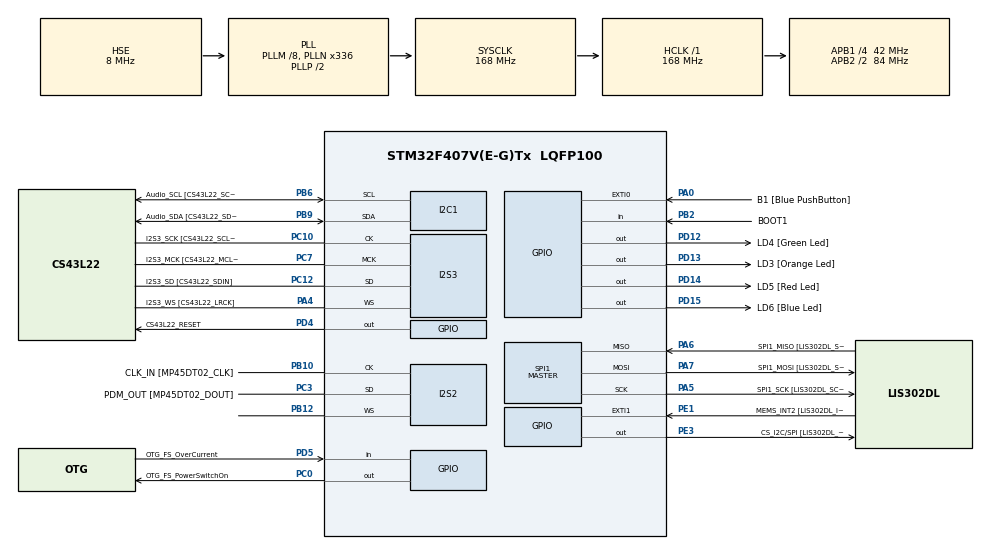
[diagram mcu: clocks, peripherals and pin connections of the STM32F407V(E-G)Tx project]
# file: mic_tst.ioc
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Dma.Request0=SPI3_TX
Dma.Request1=SPI2_RX
Dma.SPI2_RX.1.Direction=DMA_PERIPH_TO_MEMORY
Dma.SPI2_RX.1.FIFOMode=DMA_FIFOMODE_ENABLE
Dma.SPI2_RX.1.FIFOThreshold=DMA_FIFO_THRESHOLD_FULL
Dma.SPI2_RX.1.Instance=DMA1_Stream3
Dma.SPI2_RX.1.MemBurst=DMA_MBURST_SINGLE
Dma.SPI2_RX.1.MemDataAlignment=DMA_MDATAALIGN_HALFWORD
Dma.SPI2_RX.1.MemInc=DMA_MINC_ENABLE
Dma.SPI2_RX.1.Mode=DMA_CIRCULAR
Dma.SPI2_RX.1.PeriphBurst=DMA_PBURST_SINGLE
Dma.SPI2_RX.1.PeriphDataAlignment=DMA_PDATAALIGN_HALFWORD
Dma.SPI2_RX.1.PeriphInc=DMA_PINC_DISABLE
Dma.SPI2_RX.1.Priority=DMA_PRIORITY_LOW
Dma.SPI3_TX.0.Direction=DMA_MEMORY_TO_PERIPH
Dma.SPI3_TX.0.FIFOMode=DMA_FIFOMODE_ENABLE
Dma.SPI3_TX.0.FIFOThreshold=DMA_FIFO_THRESHOLD_FULL
Dma.SPI3_TX.0.Instance=DMA1_Stream5
Dma.SPI3_TX.0.MemBurst=DMA_MBURST_SINGLE
Dma.SPI3_TX.0.MemDataAlignment=DMA_MDATAALIGN_HALFWORD
Dma.SPI3_TX.0.MemInc=DMA_MINC_ENABLE
Dma.SPI3_TX.0.Mode=DMA_CIRCULAR
Dma.SPI3_TX.0.PeriphBurst=DMA_PBURST_SINGLE
Dma.SPI3_TX.0.PeriphDataAlignment=DMA_PDATAALIGN_HALFWORD
Dma.SPI3_TX.0.PeriphInc=DMA_PINC_DISABLE
Dma.SPI3_TX.0.Priority=DMA_PRIORITY_LOW
I2S2.AudioFreq=I2S_AUDIOFREQ_48K
I2S2.CPOL=I2S_CPOL_LOW
I2S2.DataFormat=I2S_DATAFORMAT_16B
I2S2.ErrorAudioFreq=-0.79 %
I2S2.FullDuplexMode=I2S_FULLDUPLEXMODE_DISABLE
I2S2.Instance=SPI$Index
I2S2.Mode=I2S_MODE_SLAVE_RX
I2S2.RealAudioFreq=47.619 KHz
I2S2.Standard=I2S_STANDARD_MSB
I2S2.VirtualMode=I2S_MODE_SLAVE
I2S3.AudioFreq=I2S_AUDIOFREQ_48K
I2S3.AudioFreq-Half_Duplex_Master=I2S_AUDIOFREQ_96K
I2S3.ErrorAudioFreq=-2.34 %
I2S3.ErrorAudioFreq-Half_Duplex_Master=0.8 %
I2S3.FullDuplexMode=I2S_FULLDUPLEXMODE_DISABLE
I2S3.Instance=SPI$Index
I2S3.RealAudioFreq=46.875 KHz
I2S3.RealAudioFreq-Half_Duplex_Master=96.774 KHz
I2S3.VirtualMode=I2S_MODE_MASTER
Mcu.Family=STM32F4
Mcu.Name=STM32F407V(E-G)Tx
Mcu.Package=LQFP100
NVIC.DMA1_Stream3_IRQn=true\:0\:0\:false\:false\:true\:false\:true\:true
NVIC.DMA1_Stream5_IRQn=true\:0\:0\:false\:false\:true\:false\:true\:true
NVIC.PriorityGroup=NVIC_PRIORITYGROUP_0
PA0-WKUP.GPIO_Label=B1 [Blue PushButton]
PA0-WKUP.GPIO_ModeDefaultEXTI=GPIO_MODE_EVT_RISING
PA0-WKUP.GPIO_PuPd=GPIO_NOPULL
PA0-WKUP.Signal=GPXTI0
PA10.GPIO_Label=OTG_FS_ID
PA10.GPIO_Mode=GPIO_MODE_AF_PP
PA10.GPIO_PuPd=GPIO_NOPULL
PA10.GPIO_Speed=GPIO_SPEED_FREQ_LOW
PA10.Signal=USB_OTG_FS_ID
PA11.GPIO_Label=OTG_FS_DM
PA11.GPIO_Mode=GPIO_MODE_AF_PP
PA11.GPIO_PuPd=GPIO_NOPULL
PA11.GPIO_Speed=GPIO_SPEED_FREQ_LOW
PA11.Signal=USB_OTG_FS_DM
PA12.GPIO_Label=OTG_FS_DP
PA12.GPIO_Mode=GPIO_MODE_AF_PP
PA12.GPIO_PuPd=GPIO_NOPULL
PA12.GPIO_Speed=GPIO_SPEED_FREQ_LOW
PA12.Signal=USB_OTG_FS_DP
PA13.GPIO_Label=SWDIO
PA13.Mode=Serial_Wire
PA13.Signal=SYS_JTMS-SWDIO
PA14.GPIO_Label=SWCLK
PA14.Mode=Serial_Wire
PA14.Signal=SYS_JTCK-SWCLK
PA4.GPIO_Label=I2S3_WS [CS43L22_LRCK]
PA4.GPIO_Mode=GPIO_MODE_AF_PP
PA4.GPIO_PuPd=GPIO_NOPULL
PA4.GPIO_Speed=GPIO_SPEED_FREQ_LOW
PA4.Mode=Half_Duplex_Master
PA4.Signal=I2S3_WS
PA5.GPIO_Label=SPI1_SCK [LIS302DL_SCL/SPC]
PA5.GPIO_Mode=GPIO_MODE_AF_PP
PA5.GPIO_PuPd=GPIO_NOPULL
PA5.GPIO_Speed=GPIO_SPEED_FREQ_LOW
PA5.Mode=Full_Duplex_Master
PA5.Signal=SPI1_SCK
PA6.GPIO_Label=SPI1_MISO [LIS302DL_SDO]
PA6.GPIO_Mode=GPIO_MODE_AF_PP
PA6.GPIO_PuPd=GPIO_NOPULL
PA6.GPIO_Speed=GPIO_SPEED_FREQ_LOW
PA6.Mode=Full_Duplex_Master
PA6.Signal=SPI1_MISO
PA7.GPIO_Label=SPI1_MOSI [LIS302DL_SDA/SDI/SDO]
PA7.GPIO_Mode=GPIO_MODE_AF_PP
PA7.GPIO_PuPd=GPIO_NOPULL
PA7.GPIO_Speed=GPIO_SPEED_FREQ_LOW
PA7.Mode=Full_Duplex_Master
PA7.Signal=SPI1_MOSI
PA9.GPIO_Label=VBUS_FS
PA9.GPIO_Mode=GPIO_MODE_INPUT
PA9.GPIO_PuPd=GPIO_NOPULL
PA9.Signal=USB_OTG_FS_VBUS
PB10.GPIO_Label=CLK_IN [MP45DT02_CLK]
PB10.GPIO_Mode=GPIO_MODE_AF_PP
PB10.GPIO_PuPd=GPIO_NOPULL
PB10.GPIO_Speed=GPIO_SPEED_FREQ_LOW
PB10.Mode=Half_Duplex_Slave
PB10.Signal=I2S2_CK
PB12.Mode=Half_Duplex_Slave
PB12.Signal=I2S2_WS
PB2.GPIO_Label=BOOT1
PB2.GPIO_Mode=GPIO_MODE_INPUT
PB2.GPIO_PuPd=GPIO_NOPULL
PB2.Signal=GPIO_Input
PB3.GPIO_Label=SWO
PB3.Signal=SYS_JTDO-SWO
PB6.GPIO_Label=Audio_SCL [CS43L22_SCL]
PB6.GPIO_Mode=GPIO_MODE_AF_OD
PB6.GPIO_Pu=GPIO_PULLUP
PB6.GPIO_PuPd=GPIO_NOPULL
PB6.GPIO_Speed=GPIO_SPEED_FREQ_LOW
PB6.Mode=I2C
PB6.Signal=I2C1_SCL
PB9.GPIO_Label=Audio_SDA [CS43L22_SDA]
PB9.GPIO_Mode=GPIO_MODE_AF_OD
PB9.GPIO_Pu=GPIO_PULLUP
PB9.GPIO_PuPd=GPIO_NOPULL
PB9.GPIO_Speed=GPIO_SPEED_FREQ_LOW
PB9.Mode=I2C
PB9.Signal=I2C1_SDA
PC0.GPIO_Label=OTG_FS_PowerSwitchOn
PC0.GPIO_PuPd=GPIO_NOPULL
PC0.GPIO_Speed=GPIO_SPEED_FREQ_LOW
PC0.PinState=GPIO_PIN_SET
PC0.Signal=GPIO_Output
PC10.GPIO_Label=I2S3_SCK [CS43L22_SCLK]
PC10.GPIO_Mode=GPIO_MODE_AF_PP
PC10.GPIO_PuPd=GPIO_NOPULL
PC10.GPIO_Speed=GPIO_SPEED_FREQ_LOW
PC10.Mode=Half_Duplex_Master
PC10.Signal=I2S3_CK
PC12.GPIO_Label=I2S3_SD [CS43L22_SDIN]
PC12.GPIO_Mode=GPIO_MODE_AF_PP
PC12.GPIO_PuPd=GPIO_NOPULL
PC12.GPIO_Speed=GPIO_SPEED_FREQ_LOW
PC12.Mode=Half_Duplex_Master
PC12.Signal=I2S3_SD
PC14-OSC32_IN.GPIO_Label=PC14-OSC32_IN
PC14-OSC32_IN.Mode=LSE-External-Oscillator
PC14-OSC32_IN.Signal=RCC_OSC32_IN
PC15-OSC32_OUT.GPIO_Label=PC15-OSC32_OUT
PC15-OSC32_OUT.Mode=LSE-External-Oscillator
PC15-OSC32_OUT.Signal=RCC_OSC32_OUT
PC3.GPIO_Label=PDM_OUT [MP45DT02_DOUT]
PC3.GPIO_Mode=GPIO_MODE_AF_PP
PC3.GPIO_PuPd=GPIO_NOPULL
PC3.GPIO_Speed=GPIO_SPEED_FREQ_LOW
PC3.Mode=Half_Duplex_Slave
PC3.Signal=I2S2_SD
PC7.GPIO_Label=I2S3_MCK [CS43L22_MCLK]
PC7.GPIO_Mode=GPIO_MODE_AF_PP
PC7.GPIO_PuPd=GPIO_NOPULL
PC7.GPIO_Speed=GPIO_SPEED_FREQ_LOW
PC7.Mode=Master_Clock_Activated
PC7.Signal=I2S3_MCK
PD12.GPIO_Label=LD4 [Green Led]
PD12.GPIO_PuPd=GPIO_NOPULL
PD12.GPIO_Speed=GPIO_SPEED_FREQ_LOW
PD12.Signal=GPIO_Output
PD13.GPIO_Label=LD3 [Orange Led]
PD13.GPIO_PuPd=GPIO_NOPULL
PD13.GPIO_Speed=GPIO_SPEED_FREQ_LOW
PD13.Signal=GPIO_Output
PD14.GPIO_Label=LD5 [Red Led]
PD14.GPIO_PuPd=GPIO_NOPULL
PD14.GPIO_Speed=GPIO_SPEED_FREQ_LOW
PD14.Signal=GPIO_Output
PD15.GPIO_Label=LD6 [Blue Led]
PD15.GPIO_PuPd=GPIO_NOPULL
PD15.GPIO_Speed=GPIO_SPEED_FREQ_LOW
PD15.Signal=GPIO_Output
PD4.GPIO_Label=CS43L22_RESET
PD4.GPIO_PuPd=GPIO_NOPULL
PD4.GPIO_Speed=GPIO_SPEED_FREQ_LOW
PD4.Signal=GPIO_Output
PD5.GPIO_Label=OTG_FS_OverCurrent
PD5.GPIO_Mode=GPIO_MODE_INPUT
PD5.GPIO_PuPd=GPIO_NOPULL
PD5.Signal=GPIO_Input
PDM2PCM.CHANNEL1_bit_order=PDM_FILTER_BIT_ORDER_MSB
PDM2PCM.CHANNEL1_in_ptr_channels=1
PDM2PCM.CHANNEL1_out_ptr_channels=1
PE1.GPIO_Label=MEMS_INT2 [LIS302DL_INT2]
PE1.GPIO_ModeDefaultEXTI=GPIO_MODE_EVT_RISING
PE1.GPIO_PuPd=GPIO_NOPULL
PE1.Signal=GPXTI1
PE3.GPIO_Label=CS_I2C/SPI [LIS302DL_CS_I2C/SPI]
PE3.GPIO_PuPd=GPIO_NOPULL
PE3.GPIO_Speed=GPIO_SPEED_FREQ_LOW
PE3.Signal=GPIO_Output
PH0-OSC_IN.GPIO_Label=PH0-OSC_IN
PH0-OSC_IN.Mode=HSE-External-Oscillator
PH0-OSC_IN.Signal=RCC_OSC_IN
PH1-OSC_OUT.GPIO_Label=PH1-OSC_OUT
PH1-OSC_OUT.Mode=HSE-External-Oscillator
PH1-OSC_OUT.Signal=RCC_OSC_OUT
ProjectManager.HeapSize=0x200
ProjectManager.StackSize=0x400
ProjectManager.TargetToolchain=STM32CubeIDE
RCC.48MHZClocksFreq_Value=48000000
RCC.AHBFreq_Value=168000000
RCC.APB1CLKDivider=RCC_HCLK_DIV4
RCC.APB1Freq_Value=42000000
RCC.APB1TimFreq_Value=84000000
RCC.APB2CLKDivider=RCC_HCLK_DIV2
RCC.APB2Freq_Value=84000000
RCC.APB2TimFreq_Value=168000000
RCC.CortexFreq_Value=168000000
RCC.HCLKFreq_Value=168000000
RCC.HSE_VALUE=8000000
RCC.HSI_VALUE=16000000
RCC.PLLM=8
RCC.PLLN=336
RCC.PLLQ=7
RCC.PLLSourceVirtual=RCC_PLLSOURCE_HSE
RCC.SYSCLKFreq_VALUE=168000000
RCC.SYSCLKSource=RCC_SYSCLKSOURCE_PLLCLK
RCC.VCOOutputFreq_Value=336000000
SPI1.BaudRatePrescaler-Full_Duplex_Master=SPI_BAUDRATEPRESCALER_2
SPI1.CalculateBaudRate-Full_Duplex_Master=42.0 MBits/s
SPI1.Direction=SPI_DIRECTION_2LINES
SPI1.Mode=SPI_MODE_MASTER
SPI1.Mode-Full_Duplex_Master=SPI_MODE_MASTER
SPI1.VirtualType=VM_MASTER
VP_CRC_VS_CRC.Mode=CRC_Activate
VP_PDM2PCM_VS_PDM2PCM.Mode=PDM2PCM_Channel
board=STM32F407G-DISC1

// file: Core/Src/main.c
/* USER CODE BEGIN Header */
/**
  ******************************************************************************
  * @file           : main.c
  * @brief          : Main program body
  ******************************************************************************
  * @attention
  *
  * Copyright (c) 2023 STMicroelectronics.
  * All rights reserved.
  *
  * This software is licensed under terms that can be found in the LICENSE file
  * in the root directory of this software component.
  * If no LICENSE file comes with this software, it is provided AS-IS.
  *
  ******************************************************************************
  */
/* USER CODE END Header */
#include "main.h"
#include "pdm2pcm.h"

/* USER CODE BEGIN Includes */
#include "cs43l22.h"
#include "AUDIO_LINK.h"
/* USER CODE END Includes */

CRC_HandleTypeDef hcrc;

I2C_HandleTypeDef hi2c1;

I2S_HandleTypeDef hi2s2;
I2S_HandleTypeDef hi2s3;
DMA_HandleTypeDef hdma_spi2_rx;
DMA_HandleTypeDef hdma_spi3_tx;

SPI_HandleTypeDef hspi1;

void SystemClock_Config(void);
void PeriphCommonClock_Config(void);
static void MX_GPIO_Init(void);
static void MX_DMA_Init(void);
static void MX_I2C1_Init(void);
static void MX_I2S3_Init(void);
static void MX_SPI1_Init(void);
static void MX_CRC_Init(void);
static void MX_I2S2_Init(void);

/* USER CODE BEGIN 0 */
int16_t txBuf[128];
uint16_t pdmRxBuf[128];
int16_t MidBuffer[32];
uint8_t txstate = 0;
uint8_t rxstate = 0;

int16_t fifobuf[256];
uint8_t fifo_w_ptr = 0;
uint8_t fifo_r_ptr = 0;
uint8_t fifo_read_enabled = 0;
#define SIN_FREQ       1000
#define SAMPLING_RATE  48000
#define BUFFER_LENGTH  SAMPLING_RATE / SIN_FREQ
uint16_t  buffer_audio[2 * BUFFER_LENGTH];
void FifoWrite(int16_t data) {
  fifobuf[fifo_w_ptr] = data;
  fifo_w_ptr++;
}

int16_t FifoRead() {
  int16_t val = fifobuf[fifo_r_ptr];
  fifo_r_ptr++;
  return val;
}
/* USER CODE END 0 */

int main(void)
{

  /* MCU Configuration--------------------------------------------------------*/

  /* Reset of all peripherals, Initializes the Flash interface and the Systick. */
  HAL_Init();

  /* Configure the system clock */
  SystemClock_Config();

/* Configure the peripherals common clocks */
  PeriphCommonClock_Config();

  /* Initialize all configured peripherals */
  MX_GPIO_Init();
  MX_DMA_Init();
  MX_I2C1_Init();
  MX_I2S3_Init();
  MX_SPI1_Init();
  MX_CRC_Init();
  MX_I2S2_Init();
  MX_PDM2PCM_Init();
  /* USER CODE BEGIN 2 */

  cs43l22_init();
  HAL_I2S_Receive_DMA(&hi2s2, &buffer_audio[0], 2 * BUFFER_LENGTH);

  /* USER CODE END 2 */

  /* Infinite loop */
  while (1)
  {

    /* USER CODE BEGIN 3 */
  //   if (rxstate == 1)
  //   {
  //     PDM_Filter (&pdmRxBuf[0], &MidBuffer[0], &PDM1_filter_handler);
  //     for (int i = 0; i < 32; i++)
  //     {
  //       FifoWrite (MidBuffer[i]);
  //     }
  //     if (fifo_w_ptr - fifo_r_ptr > 128)
  //       fifo_read_enabled = 1;
  //     rxstate = 0;
  //   }

  //   if (rxstate == 2)
  //   {
  //     PDM_Filter (&pdmRxBuf[64], &MidBuffer[0], &PDM1_filter_handler);
  //     for (int i = 0; i < 32; i++)
  //     {
  //       FifoWrite (MidBuffer[i]);
  //     }
  //     rxstate = 0;
  //   }

  //   if (txstate == 1)
  //   {
  //     if (fifo_read_enabled == 1)
  //     {
  //       for (int i = 0; i < 64; i = i + 2)
  //       {
  //         int16_t data = FifoRead ();
  //         txBuf[i] = data;
  //         txBuf[i + 1] = data;
  //       }
  //     }
  //     txstate = 0;
  //   }

  //   if (txstate == 2)
  //   {
  //     if (fifo_read_enabled == 1)
  //     {
  //       for (int i = 64; i < 128; i = i + 2)
  //       {
  //         int16_t data = FifoRead ();
  //         txBuf[i] = data;
  //         txBuf[i + 1] = data;
  //       }
  //     }
  //     txstate = 0;
  //   }
  }
  /* USER CODE END 3 */
}

void SystemClock_Config(void)
{
  RCC_OscInitTypeDef RCC_OscInitStruct = {0};
  RCC_ClkInitTypeDef RCC_ClkInitStruct = {0};

  /** Configure the main internal regulator output voltage
  */
  __HAL_RCC_PWR_CLK_ENABLE();
  __HAL_PWR_VOLTAGESCALING_CONFIG(PWR_REGULATOR_VOLTAGE_SCALE1);

  /** Initializes the RCC Oscillators according to the specified parameters
  * in the RCC_OscInitTypeDef structure.
  */
  RCC_OscInitStruct.OscillatorType = RCC_OSCILLATORTYPE_HSE;
  RCC_OscInitStruct.HSEState = RCC_HSE_ON;
  RCC_OscInitStruct.PLL.PLLState = RCC_PLL_ON;
  RCC_OscInitStruct.PLL.PLLSource = RCC_PLLSOURCE_HSE;
  RCC_OscInitStruct.PLL.PLLM = 8;
  RCC_OscInitStruct.PLL.PLLN = 336;
  RCC_OscInitStruct.PLL.PLLP = RCC_PLLP_DIV2;
  RCC_OscInitStruct.PLL.PLLQ = 7;
  if (HAL_RCC_OscConfig(&RCC_OscInitStruct) != HAL_OK)
  {
    Error_Handler();
  }

  /** Initializes the CPU, AHB and APB buses clocks
  */
  RCC_ClkInitStruct.ClockType = RCC_CLOCKTYPE_HCLK|RCC_CLOCKTYPE_SYSCLK
                              |RCC_CLOCKTYPE_PCLK1|RCC_CLOCKTYPE_PCLK2;
  RCC_ClkInitStruct.SYSCLKSource = RCC_SYSCLKSOURCE_PLLCLK;
  RCC_ClkInitStruct.AHBCLKDivider = RCC_SYSCLK_DIV1;
  RCC_ClkInitStruct.APB1CLKDivider = RCC_HCLK_DIV4;
  RCC_ClkInitStruct.APB2CLKDivider = RCC_HCLK_DIV2;

  if (HAL_RCC_ClockConfig(&RCC_ClkInitStruct, FLASH_LATENCY_5) != HAL_OK)
  {
    Error_Handler();
  }
}

void PeriphCommonClock_Config(void)
{
  RCC_PeriphCLKInitTypeDef PeriphClkInitStruct = {0};

  /** Initializes the peripherals clock
  */
  PeriphClkInitStruct.PeriphClockSelection = RCC_PERIPHCLK_I2S;
  PeriphClkInitStruct.PLLI2S.PLLI2SN = 192;
  PeriphClkInitStruct.PLLI2S.PLLI2SR = 2;
  if (HAL_RCCEx_PeriphCLKConfig(&PeriphClkInitStruct) != HAL_OK)
  {
    Error_Handler();
  }
}

static void MX_CRC_Init(void)
{

  hcrc.Instance = CRC;
  if (HAL_CRC_Init(&hcrc) != HAL_OK)
  {
    Error_Handler();
  }
  __HAL_CRC_DR_RESET(&hcrc);

}

static void MX_I2C1_Init(void)
{

  hi2c1.Instance = I2C1;
  hi2c1.Init.ClockSpeed = 100000;
  hi2c1.Init.DutyCycle = I2C_DUTYCYCLE_2;
  hi2c1.Init.OwnAddress1 = 0;
  hi2c1.Init.AddressingMode = I2C_ADDRESSINGMODE_7BIT;
  hi2c1.Init.DualAddressMode = I2C_DUALADDRESS_DISABLE;
  hi2c1.Init.OwnAddress2 = 0;
  hi2c1.Init.GeneralCallMode = I2C_GENERALCALL_DISABLE;
  hi2c1.Init.NoStretchMode = I2C_NOSTRETCH_DISABLE;
  if (HAL_I2C_Init(&hi2c1) != HAL_OK)
  {
    Error_Handler();
  }

}

static void MX_I2S2_Init(void)
{

  hi2s2.Instance = SPI2;
  hi2s2.Init.Mode = I2S_MODE_SLAVE_RX;
  hi2s2.Init.Standard = I2S_STANDARD_MSB;
  hi2s2.Init.DataFormat = I2S_DATAFORMAT_16B;
  hi2s2.Init.MCLKOutput = I2S_MCLKOUTPUT_DISABLE;
  hi2s2.Init.AudioFreq = I2S_AUDIOFREQ_48K;
  hi2s2.Init.CPOL = I2S_CPOL_LOW;
  hi2s2.Init.ClockSource = I2S_CLOCK_PLL;
  hi2s2.Init.FullDuplexMode = I2S_FULLDUPLEXMODE_DISABLE;
  if (HAL_I2S_Init(&hi2s2) != HAL_OK)
  {
    Error_Handler();
  }

}

static void MX_I2S3_Init(void)
{

  hi2s3.Instance = SPI3;
  hi2s3.Init.Mode = I2S_MODE_MASTER_TX;
  hi2s3.Init.Standard = I2S_STANDARD_PHILIPS;
  hi2s3.Init.DataFormat = I2S_DATAFORMAT_16B;
  hi2s3.Init.MCLKOutput = I2S_MCLKOUTPUT_ENABLE;
  hi2s3.Init.AudioFreq = I2S_AUDIOFREQ_48K;
  hi2s3.Init.CPOL = I2S_CPOL_LOW;
  hi2s3.Init.ClockSource = I2S_CLOCK_PLL;
  hi2s3.Init.FullDuplexMode = I2S_FULLDUPLEXMODE_DISABLE;
  if (HAL_I2S_Init(&hi2s3) != HAL_OK)
  {
    Error_Handler();
  }

}

static void MX_SPI1_Init(void)
{

  /* SPI1 parameter configuration*/
  hspi1.Instance = SPI1;
  hspi1.Init.Mode = SPI_MODE_MASTER;
  hspi1.Init.Direction = SPI_DIRECTION_2LINES;
  hspi1.Init.DataSize = SPI_DATASIZE_8BIT;
  hspi1.Init.CLKPolarity = SPI_POLARITY_LOW;
  hspi1.Init.CLKPhase = SPI_PHASE_1EDGE;
  hspi1.Init.NSS = SPI_NSS_SOFT;
  hspi1.Init.BaudRatePrescaler = SPI_BAUDRATEPRESCALER_2;
  hspi1.Init.FirstBit = SPI_FIRSTBIT_MSB;
  hspi1.Init.TIMode = SPI_TIMODE_DISABLE;
  hspi1.Init.CRCCalculation = SPI_CRCCALCULATION_DISABLE;
  hspi1.Init.CRCPolynomial = 10;
  if (HAL_SPI_Init(&hspi1) != HAL_OK)
  {
    Error_Handler();
  }

}

static void MX_DMA_Init(void)
{

  /* DMA controller clock enable */
  __HAL_RCC_DMA1_CLK_ENABLE();

  /* DMA interrupt init */
  /* DMA1_Stream3_IRQn interrupt configuration */
  HAL_NVIC_SetPriority(DMA1_Stream3_IRQn, 0, 0);
  HAL_NVIC_EnableIRQ(DMA1_Stream3_IRQn);
  /* DMA1_Stream5_IRQn interrupt configuration */
  HAL_NVIC_SetPriority(DMA1_Stream5_IRQn, 0, 0);
  HAL_NVIC_EnableIRQ(DMA1_Stream5_IRQn);

}

static void MX_GPIO_Init(void)
{
  GPIO_InitTypeDef GPIO_InitStruct = {0};

  /* GPIO Ports Clock Enable */
  __HAL_RCC_GPIOE_CLK_ENABLE();
  __HAL_RCC_GPIOC_CLK_ENABLE();
  __HAL_RCC_GPIOH_CLK_ENABLE();
  __HAL_RCC_GPIOA_CLK_ENABLE();
  __HAL_RCC_GPIOB_CLK_ENABLE();
  __HAL_RCC_GPIOD_CLK_ENABLE();

  /*Configure GPIO pin Output Level */
  HAL_GPIO_WritePin(CS_I2C_SPI_GPIO_Port, CS_I2C_SPI_Pin, GPIO_PIN_RESET);

  /*Configure GPIO pin Output Level */
  HAL_GPIO_WritePin(OTG_FS_PowerSwitchOn_GPIO_Port, OTG_FS_PowerSwitchOn_Pin, GPIO_PIN_SET);

  /*Configure GPIO pin Output Level */
  HAL_GPIO_WritePin(GPIOD, LD4_Pin|LD3_Pin|LD5_Pin|LD6_Pin
                          |CS43L22_RESET_Pin, GPIO_PIN_RESET);

  /*Configure GPIO pin : CS_I2C_SPI_Pin */
  GPIO_InitStruct.Pin = CS_I2C_SPI_Pin;
  GPIO_InitStruct.Mode = GPIO_MODE_OUTPUT_PP;
  GPIO_InitStruct.Pull = GPIO_NOPULL;
  GPIO_InitStruct.Speed = GPIO_SPEED_FREQ_LOW;
  HAL_GPIO_Init(CS_I2C_SPI_GPIO_Port, &GPIO_InitStruct);

  /*Configure GPIO pin : OTG_FS_PowerSwitchOn_Pin */
  GPIO_InitStruct.Pin = OTG_FS_PowerSwitchOn_Pin;
  GPIO_InitStruct.Mode = GPIO_MODE_OUTPUT_PP;
  GPIO_InitStruct.Pull = GPIO_NOPULL;
  GPIO_InitStruct.Speed = GPIO_SPEED_FREQ_LOW;
  HAL_GPIO_Init(OTG_FS_PowerSwitchOn_GPIO_Port, &GPIO_InitStruct);

  /*Configure GPIO pin : B1_Pin */
  GPIO_InitStruct.Pin = B1_Pin;
  GPIO_InitStruct.Mode = GPIO_MODE_EVT_RISING;
  GPIO_InitStruct.Pull = GPIO_NOPULL;
  HAL_GPIO_Init(B1_GPIO_Port, &GPIO_InitStruct);

  /*Configure GPIO pin : BOOT1_Pin */
  GPIO_InitStruct.Pin = BOOT1_Pin;
  GPIO_InitStruct.Mode = GPIO_MODE_INPUT;
  GPIO_InitStruct.Pull = GPIO_NOPULL;
  HAL_GPIO_Init(BOOT1_GPIO_Port, &GPIO_InitStruct);

  /*Configure GPIO pins : LD4_Pin LD3_Pin LD5_Pin LD6_Pin
                           CS43L22_RESET_Pin */
  GPIO_InitStruct.Pin = LD4_Pin|LD3_Pin|LD5_Pin|LD6_Pin
                          |CS43L22_RESET_Pin;
  GPIO_InitStruct.Mode = GPIO_MODE_OUTPUT_PP;
  GPIO_InitStruct.Pull = GPIO_NOPULL;
  GPIO_InitStruct.Speed = GPIO_SPEED_FREQ_LOW;
  HAL_GPIO_Init(GPIOD, &GPIO_InitStruct);

  /*Configure GPIO pin : VBUS_FS_Pin */
  GPIO_InitStruct.Pin = VBUS_FS_Pin;
  GPIO_InitStruct.Mode = GPIO_MODE_INPUT;
  GPIO_InitStruct.Pull = GPIO_NOPULL;
  HAL_GPIO_Init(VBUS_FS_GPIO_Port, &GPIO_InitStruct);

  /*Configure GPIO pins : OTG_FS_ID_Pin OTG_FS_DM_Pin OTG_FS_DP_Pin */
  GPIO_InitStruct.Pin = OTG_FS_ID_Pin|OTG_FS_DM_Pin|OTG_FS_DP_Pin;
  GPIO_InitStruct.Mode = GPIO_MODE_AF_PP;
  GPIO_InitStruct.Pull = GPIO_NOPULL;
  GPIO_InitStruct.Speed = GPIO_SPEED_FREQ_LOW;
  GPIO_InitStruct.Alternate = GPIO_AF10_OTG_FS;
  HAL_GPIO_Init(GPIOA, &GPIO_InitStruct);

  /*Configure GPIO pin : OTG_FS_OverCurrent_Pin */
  GPIO_InitStruct.Pin = OTG_FS_OverCurrent_Pin;
  GPIO_InitStruct.Mode = GPIO_MODE_INPUT;
  GPIO_InitStruct.Pull = GPIO_NOPULL;
  HAL_GPIO_Init(OTG_FS_OverCurrent_GPIO_Port, &GPIO_InitStruct);

  /*Configure GPIO pin : MEMS_INT2_Pin */
  GPIO_InitStruct.Pin = MEMS_INT2_Pin;
  GPIO_InitStruct.Mode = GPIO_MODE_EVT_RISING;
  GPIO_InitStruct.Pull = GPIO_NOPULL;
  HAL_GPIO_Init(MEMS_INT2_GPIO_Port, &GPIO_InitStruct);

}

/* USER CODE BEGIN 4 */

void HAL_I2S_RxHalfCpltCallback (I2S_HandleTypeDef *hi2s)
{
}

void HAL_I2S_RxCpltCallback (I2S_HandleTypeDef *hi2s)
{
	 cs43l22_play((int16_t *)buffer_audio, 2 * BUFFER_LENGTH);
}
/* USER CODE END 4 */

void Error_Handler(void)
{
  __disable_irq();
  while (1)
  {
  }
}
